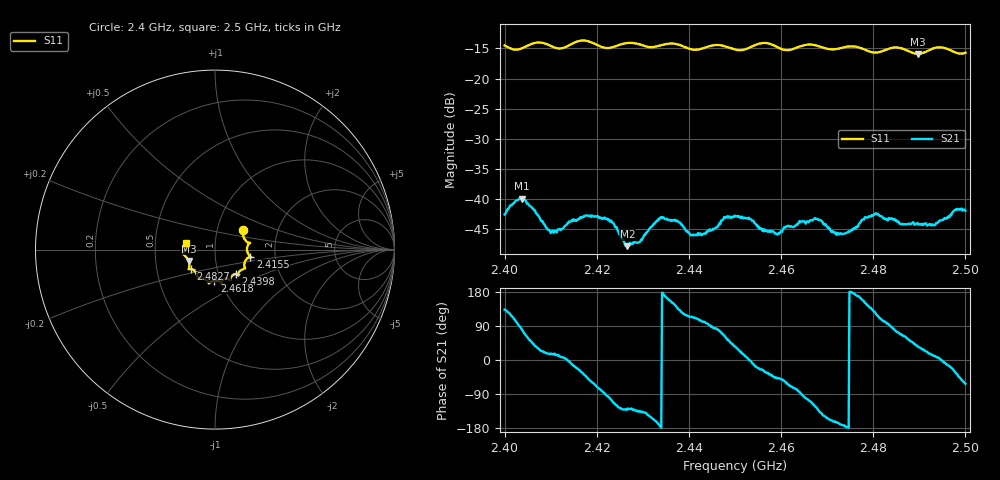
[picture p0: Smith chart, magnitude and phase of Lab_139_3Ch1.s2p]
# Hz S RI R 50
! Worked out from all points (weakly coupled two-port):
!   601 points, 2.4 GHz to 2.5 GHz, reference 50 ohm
!   highest |S21| = -39.99 dB at 2.4037 GHz (marker M1); lowest = -47.9 dB at 2.4267 GHz (marker M2)
!   lowest |S11| = -15.9 dB at 2.4897 GHz (marker M3), VSWR 1.38, Z = 36.9 - j4.81 ohm
!   |S11| at or under -10 dB: start of sweep to end of sweep
!   S12 and S22 are empty: the file has one direction only
!   S11 on the Smith chart (normalised r, x): 2.4 GHz: 1.33, +0.29; 2.4155 GHz: 1.49, -0.12; 2.4398 GHz: 1.21, -0.34; 2.4618 GHz: 0.94, -0.33; 2.4827 GHz: 0.75, -0.17; 2.5 GHz: 0.72, +0.06
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2.4e9  0.1555 0.1067  -0.00505 0.00539  0 0  0 0
2.403667e9  0.1709 0.0503  0.00142 0.00991  0 0  0 0
2.410167e9  0.1842 0.025  0.00503 0.00146  0 0  0 0
2.4155e9  0.1978 -0.0395  0.0062 -0.00234  0 0  0 0
2.416667e9  0.2026 -0.0428  0.00586 -0.00367  0 0  0 0
2.422667e9  0.1644 -0.0724  -0.000979 -0.00655  0 0  0 0
2.426667e9  0.1685 -0.1033  -0.00248 -0.00317  0 0  0 0
2.429333e9  0.1592 -0.1076  -0.00311 -0.00307  0 0  0 0
2.433333e9  0.1295 -0.1342  -0.0066 -0.00133  0 0  0 0
2.437333e9  0.1307 -0.1427  -0.00499 0.00424  0 0  0 0
2.439833e9  0.1153 -0.1358  -0.00229 0.00472  0 0  0 0
2.443167e9  0.0876 -0.1561  -0.000969 0.00501  0 0  0 0
2.45e9  0.0651 -0.1619  0.00586 0.00425  0 0  0 0
2.459167e9  0.0296 -0.1803  0.00332 -0.00378  0 0  0 0
2.461833e9  -0.00306 -0.1729  0.00218 -0.0054  0 0  0 0
2.466667e9  -0.0346 -0.1882  -0.00268 -0.00607  0 0  0 0
2.472833e9  -0.0796 -0.16  -0.00506 -0.000881  0 0  0 0
2.480167e9  -0.1114 -0.1213  -0.00448 0.00579  0 0  0 0
2.482667e9  -0.1349 -0.1087  -0.00112 0.0067  0 0  0 0
2.483333e9  -0.14 -0.1082  -0.000598 0.00689  0 0  0 0
2.489667e9  -0.1471 -0.0635  0.00507 0.00366  0 0  0 0
2.5e9  -0.1591 0.0392  0.00364 -0.00706  0 0  0 0
